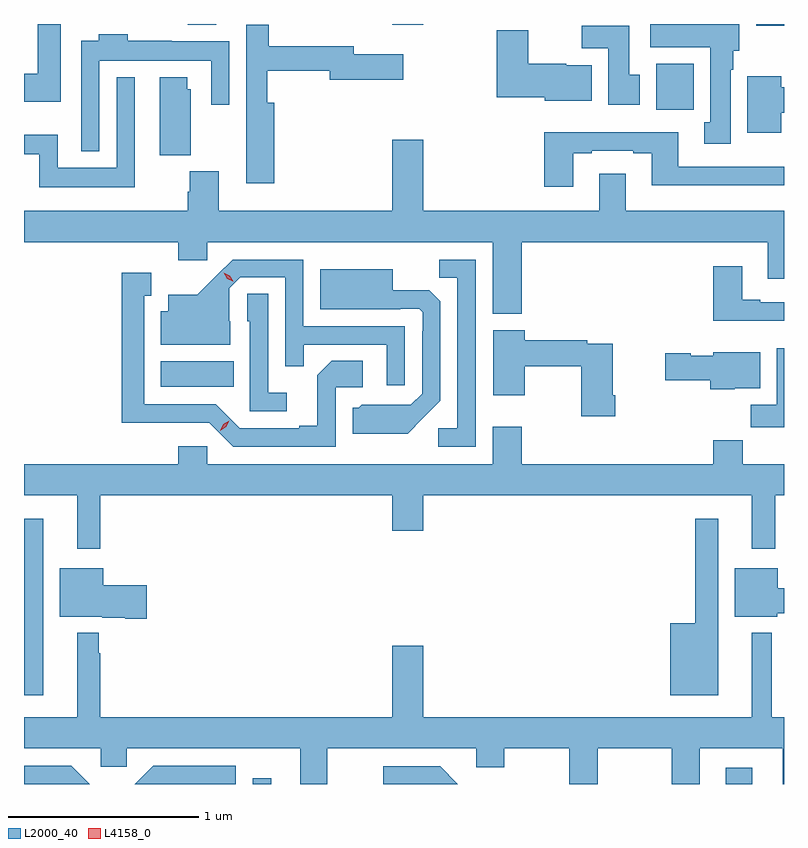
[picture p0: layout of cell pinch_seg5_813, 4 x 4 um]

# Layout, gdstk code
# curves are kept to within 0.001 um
import gdstk
lib = gdstk.Library(unit=1e-6, precision=1e-09)
def R(c, l, rs):  # rectangles x0, y0, x1, y1
    for r in rs: c.add(gdstk.rectangle(r[:2], r[2:], *l))
def P(c, l, *ps):  # polygons
    for p in ps: c.add(gdstk.Polygon(p, *l))
L2000_40 = (2000, 40)
L4158_0 = (4158, 0)

pinch_seg5_813 = lib.new_cell('pinch_seg5_813')
R(pinch_seg5_813, L2000_40, [(763.675,879.216,763.771,879.247), (766.163,879.216,766.303,879.301), (762.47,879.683,762.571,880.612), (763.19,881.306,763.574,881.44), (765.797,882.764,765.994,883.006), (766.325,883.206,766.47,883.216), (763.331,883.211,763.483,883.216), (764.408,883.212,764.572,883.216)])
P(pinch_seg5_813, L2000_40, [(766.189,882.974),(766.204,882.974),(766.204,883.074),(766.234,883.074),(766.234,883.216),(765.765,883.216),(765.765,883.094),(766.082,883.094),(766.082,882.698),(766.049,882.698),(766.049,882.585),(766.189,882.585)],
  [(762.664,883.216),(762.542,883.216),(762.542,882.954),(762.47,882.954),(762.47,882.806),(762.664,882.806)],
  [(763.787,882.802),(763.75,882.802),(763.75,882.97),(764.078,882.97),(764.078,882.923),(764.467,882.923),(764.467,883.057),(764.206,883.057),(764.206,883.099),(763.757,883.099),(763.757,883.213),(763.641,883.213),(763.641,882.698),(763.64,882.698),(763.64,882.378),(763.787,882.378)],
  [(765.712,882.948),(765.655,882.948),(765.655,883.207),(765.406,883.207),(765.406,883.088),(765.545,883.088),(765.545,882.792),(765.712,882.792)],
  [(765.457,883),(765.324,883),(765.324,883.006),(765.124,883.006),(765.124,883.183),(764.959,883.183),(764.959,882.83),(765.21,882.83),(765.21,882.812),(765.457,882.812)],
  [(762.867,883.022),(763.455,883.022),(763.455,882.792),(763.551,882.792),(763.551,883.126),(763.247,883.126),(763.247,883.129),(763.016,883.129),(763.016,883.162),(762.863,883.162),(762.863,883.129),(762.771,883.129),(762.771,882.545),(762.867,882.545)],
  [(766.456,882.748),(766.47,882.748),(766.47,882.884),(766.456,882.884),(766.456,882.94),(766.277,882.94),(766.277,882.644),(766.456,882.644)],
  [(763.054,882.937),(762.957,882.937),(762.957,882.46),(762.648,882.46),(762.648,882.634),(762.47,882.634),(762.47,882.53),(762.551,882.53),(762.551,882.356),(763.054,882.356)],
  [(763.348,882.873),(763.33,882.873),(763.33,882.937),(763.184,882.937),(763.184,882.526),(763.348,882.526)],
  [(765.361,882.537),(765.457,882.537),(765.457,882.549),(765.677,882.549),(765.677,882.537),(765.773,882.537),(765.773,882.368),(766.47,882.368),(766.47,882.465),(765.913,882.465),(765.913,882.646),(765.209,882.646),(765.209,882.36),(765.361,882.36)],
  [(765.089,882.068),(766.385,882.068),(766.385,881.874),(766.47,881.874),(766.47,882.232),(765.637,882.232),(765.637,882.427),(765.497,882.427),(765.497,882.232),(764.572,882.232),(764.572,882.607),(764.408,882.607),(764.408,882.232),(763.496,882.232),(763.496,882.441),(763.343,882.441),(763.343,882.332),(763.331,882.332),(763.331,882.232),(762.47,882.232),(762.47,882.068),(763.283,882.068),(763.283,881.973),(763.434,881.973),(763.434,882.068),(764.936,882.068),(764.936,881.69),(765.089,881.69)],
  [(764.847,881.976),(764.656,881.976),(764.656,881.881),(764.751,881.881),(764.751,881.088),(764.649,881.088),(764.649,880.992),(764.847,880.992)],
  [(764.475,881.625),(763.941,881.625),(763.941,881.976),(763.568,881.976),(763.381,881.791),(763.229,881.791),(763.229,881.704),(763.19,881.704),(763.19,881.528),(763.555,881.528),(763.555,881.652),(763.551,881.652),(763.551,881.826),(763.608,881.883),(763.845,881.883),(763.845,881.416),(763.943,881.416),(763.943,881.529),(764.379,881.529),(764.379,881.316),(764.475,881.316)],
  [(766.47,881.751),(766.345,881.751),(766.345,881.764),(766.249,881.764),(766.249,881.941),(766.097,881.941),(766.097,881.654),(766.47,881.654)],
  [(764.569,881.141),(764.661,881.234),(764.661,881.756),(764.602,881.815),(764.41,881.815),(764.41,881.926),(764.03,881.926),(764.03,881.714),(764.45,881.714),(764.45,881.718),(764.55,881.718),(764.568,881.7),(764.568,881.6),(764.565,881.6),(764.565,881.271),(764.505,881.211),(764.248,881.212),(764.232,881.196),(764.201,881.196),(764.201,881.06),(764.489,881.06)],
  [(764.112,881.304),(764.254,881.304),(764.254,881.444),(764.089,881.444),(764.013,881.368),(764.013,881.101),(763.919,881.101),(763.919,881.088),(763.605,881.088),(763.479,881.214),(763.102,881.214),(763.102,881.787),(763.141,881.787),(763.141,881.908),(762.984,881.908),(762.984,881.117),(763.446,881.118),(763.572,880.992),(764.112,880.992)],
  [(763.852,881.275),(763.755,881.275),(763.755,881.795),(763.644,881.795),(763.644,881.652),(763.659,881.652),(763.659,881.178),(763.852,881.178)],
  [(765.581,881.263),(765.568,881.263),(765.568,881.532),(765.434,881.532),(765.434,881.552),(765.106,881.552),(765.106,881.605),(764.939,881.605),(764.939,881.262),(765.106,881.262),(765.106,881.416),(765.403,881.416),(765.403,881.151),(765.581,881.151)],
  [(766.47,881.509),(766.433,881.509),(766.433,881.212),(766.294,881.212),(766.294,881.094),(766.47,881.094)],
  [(766.212,881.3),(766.345,881.3),(766.345,881.488),(766.098,881.488),(766.098,881.47),(765.978,881.47),(765.978,881.483),(765.846,881.483),(765.846,881.341),(766.082,881.341),(766.082,881.294),(766.212,881.294)],
  [(762.871,880.736),(764.408,880.736),(764.408,880.548),(764.572,880.548),(764.572,880.736),(766.301,880.736),(766.301,880.455),(766.423,880.455),(766.423,880.736),(766.47,880.736),(766.47,880.9),(766.253,880.9),(766.253,881.024),(766.097,881.024),(766.097,880.9),(765.089,880.9),(765.089,881.095),(764.936,881.095),(764.936,880.9),(763.434,880.9),(763.434,880.993),(763.283,880.993),(763.283,880.9),(762.47,880.9),(762.47,880.736),(762.749,880.736),(762.749,880.455),(762.871,880.455)],
  [(766.123,880.612),(766.002,880.612),(766.002,880.063),(765.872,880.063),(765.872,879.683),(766.123,879.683)],
  [(763.117,880.263),(762.886,880.263),(762.886,880.351),(762.659,880.351),(762.659,880.097),(762.882,880.097),(762.882,880.091),(763.004,880.091),(763.004,880.085),(763.117,880.085)],
  [(766.434,880.115),(766.47,880.115),(766.47,880.245),(766.438,880.245),(766.438,880.351),(766.211,880.351),(766.211,880.097),(766.434,880.097)],
  [(764.065,879.404),(764.849,879.404),(764.849,879.305),(764.997,879.305),(764.997,879.404),(765.341,879.404),(765.341,879.216),(765.489,879.216),(765.489,879.404),(765.88,879.404),(765.88,879.216),(766.027,879.216),(766.027,879.404),(766.463,879.404),(766.463,879.216),(766.47,879.216),(766.47,879.568),(766.405,879.568),(766.405,880.012),(766.301,880.012),(766.301,879.568),(764.572,879.568),(764.572,879.943),(764.408,879.943),(764.408,879.568),(762.871,879.568),(762.871,879.905),(762.863,879.905),(762.863,880.012),(762.749,880.012),(762.749,879.568),(762.47,879.568),(762.47,879.404),(762.873,879.404),(762.873,879.306),(763.011,879.306),(763.011,879.404),(763.925,879.404),(763.925,879.216),(764.065,879.216)],
  [(762.719,879.313),(762.47,879.313),(762.47,879.216),(762.816,879.216)],
  [(763.584,879.312),(763.149,879.312),(763.053,879.216),(763.584,879.216)],
  [(764.661,879.309),(764.361,879.309),(764.361,879.216),(764.754,879.216)])
P(pinch_seg5_813, L4158_0, [(763.569,881.861),(763.539,881.876),(763.521,881.906),(763.521,881.906),(763.522,881.906),(763.552,881.891),(763.57,881.861),(763.57,881.861)],
  [(763.502,881.076),(763.502,881.077),(763.519,881.109),(763.55,881.129),(763.551,881.129),(763.551,881.129),(763.534,881.096),(763.503,881.076)])

lib.write_gds('pinch_seg5_813.gds')
